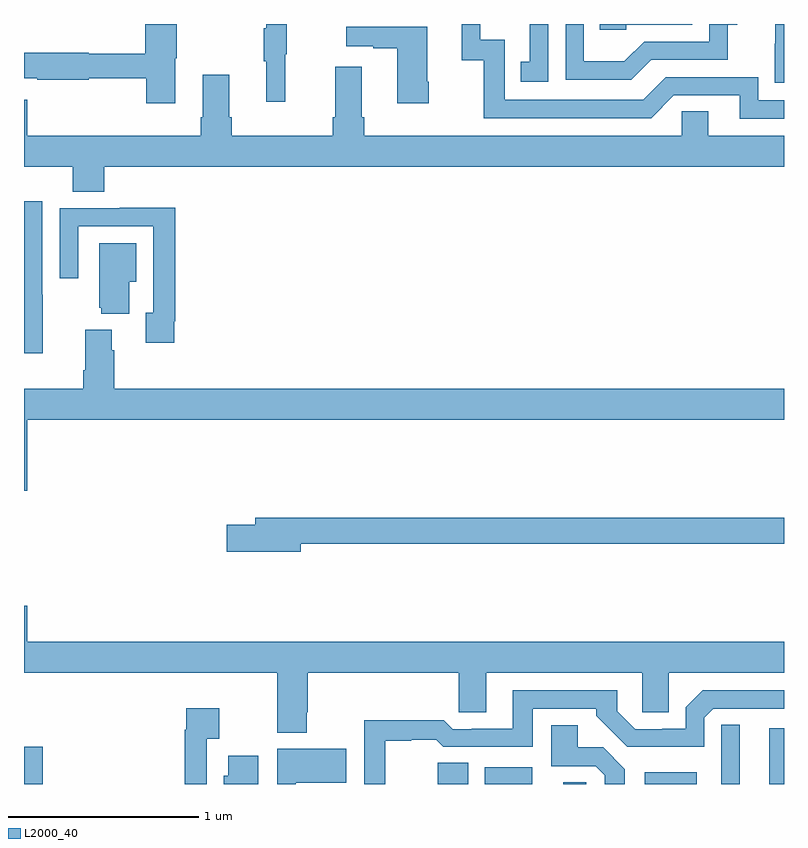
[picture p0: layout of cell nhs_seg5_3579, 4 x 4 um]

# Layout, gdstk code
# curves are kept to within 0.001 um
import gdstk
lib = gdstk.Library(unit=1e-6, precision=1e-09)
def R(c, l, rs):  # rectangles x0, y0, x1, y1
    for r in rs: c.add(gdstk.rectangle(r[:2], r[2:], *l))
def P(c, l, *ps):  # polygons
    for p in ps: c.add(gdstk.Polygon(p, *l))
L2000_40 = (2000, 40)

nhs_seg5_3579 = lib.new_cell('nhs_seg5_3579')
R(nhs_seg5_3579, L2000_40, [(321,898.799,321.098,898.996), (323.177,898.799,323.338,898.91), (323.426,898.799,323.674,898.888), (323.838,898.799,323.958,898.807), (324.266,898.799,324.541,898.861), (324.669,898.799,324.766,899.111), (324.923,898.799,325,899.092)])
P(nhs_seg5_3579, L2000_40, [(321.796,902.619),(321.804,902.619),(321.804,902.799),(321.638,902.799),(321.638,902.642),(321.342,902.642),(321.342,902.648),(321,902.648),(321,902.513),(321.07,902.513),(321.07,902.506),(321.342,902.506),(321.342,902.514),(321.643,902.514),(321.643,902.382),(321.796,902.382)],
  [(323.76,902.799),(323.663,902.799),(323.663,902.601),(323.614,902.601),(323.614,902.496),(323.76,902.496)],
  [(325,902.397),(324.864,902.397),(324.864,902.52),(324.378,902.52),(324.258,902.4),(323.529,902.4),(323.529,902.715),(323.4,902.715),(323.4,902.799),(323.303,902.799),(323.303,902.607),(323.421,902.607),(323.421,902.304),(324.3,902.304),(324.42,902.424),(324.767,902.424),(324.767,902.301),(325,902.301)],
  [(325,902.799),(324.953,902.799),(324.953,902.695),(324.952,902.695),(324.952,902.489),(325,902.489)],
  [(324.171,902.796),(324.516,902.796),(324.516,902.799),(324.031,902.799),(324.031,902.769),(324.171,902.769)],
  [(324.301,902.61),(324.705,902.61),(324.705,902.795),(324.754,902.795),(324.754,902.799),(324.606,902.799),(324.606,902.706),(324.264,902.706),(324.16,902.602),(323.946,902.602),(323.946,902.799),(323.85,902.799),(323.85,902.505),(324.196,902.505)],
  [(322.376,902.64),(322.384,902.64),(322.384,902.799),(322.274,902.799),(322.274,902.777),(322.263,902.777),(322.263,902.603),(322.274,902.603),(322.274,902.391),(322.376,902.391)],
  [(323.13,902.494),(323.122,902.494),(323.122,902.785),(322.695,902.785),(322.695,902.681),(322.838,902.681),(322.838,902.671),(322.964,902.671),(322.964,902.382),(323.13,902.382)],
  [(321.422,902.048),(325,902.048),(325,902.212),(324.601,902.212),(324.601,902.339),(324.462,902.339),(324.462,902.212),(322.79,902.212),(322.79,902.308),(322.777,902.308),(322.777,902.575),(322.637,902.575),(322.637,902.308),(322.625,902.308),(322.625,902.212),(322.094,902.212),(322.094,902.308),(322.081,902.308),(322.081,902.533),(321.941,902.533),(321.941,902.308),(321.929,902.308),(321.929,902.212),(321.016,902.212),(321.016,902.401),(321,902.401),(321,902.048),(321.257,902.048),(321.257,901.915),(321.422,901.915)],
  [(321.099,901.373),(321.096,901.373),(321.096,901.867),(321,901.867),(321,901.067),(321.099,901.067)],
  [(321.79,901.234),(321.797,901.234),(321.797,901.832),(321.505,901.832),(321.505,901.83),(321.189,901.83),(321.189,901.461),(321.285,901.461),(321.285,901.734),(321.681,901.734),(321.681,901.278),(321.641,901.278),(321.641,901.122),(321.79,901.122)],
  [(321.553,901.442),(321.592,901.442),(321.592,901.645),(321.395,901.645),(321.395,901.305),(321.407,901.305),(321.407,901.274),(321.553,901.274)],
  [(321.016,900.716),(325,900.716),(325,900.88),(321.476,900.88),(321.476,901.082),(321.463,901.082),(321.463,901.189),(321.323,901.189),(321.323,900.976),(321.311,900.976),(321.311,900.88),(321,900.88),(321,900.342),(321.016,900.342)],
  [(322.456,900.064),(325,900.064),(325,900.2),(322.217,900.2),(322.217,900.164),(322.068,900.164),(322.068,900.022),(322.456,900.022)],
  [(322.488,899.176),(322.493,899.176),(322.493,899.384),(323.288,899.384),(323.288,899.176),(323.434,899.176),(323.434,899.384),(324.254,899.384),(324.254,899.176),(324.394,899.176),(324.394,899.384),(325,899.384),(325,899.548),(321.016,899.548),(321.016,899.737),(321,899.737),(321,899.384),(322.333,899.384),(322.333,899.069),(322.488,899.069)],
  [(322.9,899.027),(323.039,899.027),(323.039,899.031),(323.17,899.031),(323.206,898.995),(323.677,898.995),(323.677,899.196),(324.012,899.196),(324.012,899.157),(324.174,898.995),(324.579,898.994),(324.579,899.148),(324.627,899.196),(325,899.196),(325,899.292),(324.573,899.292),(324.483,899.202),(324.483,899.091),(324.358,899.091),(324.358,899.088),(324.216,899.088),(324.122,899.183),(324.122,899.292),(323.573,899.292),(323.573,899.091),(323.356,899.091),(323.356,899.088),(323.256,899.088),(323.21,899.134),(322.79,899.134),(322.79,898.799),(322.9,898.799)],
  [(321.963,899.036),(322.027,899.036),(322.027,899.197),(321.855,899.197),(321.855,899.084),(321.847,899.084),(321.847,898.799),(321.963,898.799)],
  [(324.163,898.877),(324.048,898.992),(323.914,898.992),(323.914,899.107),(323.774,899.107),(323.774,898.893),(324.009,898.893),(324.057,898.845),(324.057,898.799),(324.163,898.799)],
  [(322.431,898.805),(322.696,898.805),(322.696,898.984),(322.334,898.984),(322.334,898.799),(322.431,898.799)],
  [(322.234,898.948),(322.076,898.948),(322.076,898.842),(322.052,898.842),(322.052,898.799),(322.234,898.799)])

lib.write_gds('nhs_seg5_3579.gds')
